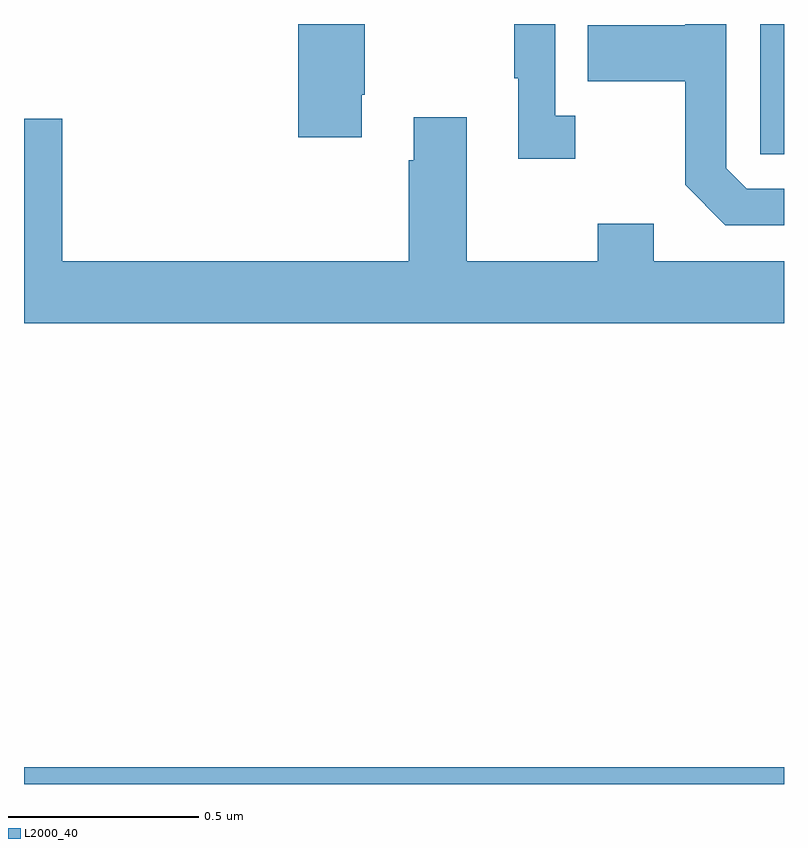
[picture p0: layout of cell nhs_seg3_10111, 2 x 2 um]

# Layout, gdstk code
import gdstk
lib = gdstk.Library(unit=1e-6, precision=1e-09)
def R(c, l, rs):  # rectangles x0, y0, x1, y1
    for r in rs: c.add(gdstk.rectangle(r[:2], r[2:], *l))
def P(c, l, *ps):  # polygons
    for p in ps: c.add(gdstk.Polygon(p, *l))
L2000_40 = (2000, 40)

nhs_seg3_10111 = lib.new_cell('nhs_seg3_10111')
R(nhs_seg3_10111, L2000_40, [(237,670.4,239,670.444), (238.938,672.057,239,672.4)])
P(nhs_seg3_10111, L2000_40, [(237.889,672.214),(237.897,672.214),(237.897,672.4),(237.722,672.4),(237.722,672.102),(237.889,672.102)],
  [(238.45,672.158),(238.398,672.158),(238.398,672.4),(238.29,672.4),(238.29,672.257),(238.301,672.257),(238.301,672.045),(238.45,672.045)],
  [(239,671.967),(238.902,671.967),(238.848,672.021),(238.848,672.4),(238.74,672.4),(238.74,672.397),(238.483,672.397),(238.483,672.25),(238.74,672.25),(238.74,671.977),(238.845,671.871),(239,671.871)],
  [(239,671.776),(238.657,671.776),(238.657,671.875),(238.51,671.875),(238.51,671.776),(238.165,671.776),(238.165,672.154),(238.025,672.154),(238.025,672.041),(238.013,672.041),(238.013,671.776),(237.1,671.776),(237.1,672.151),(237,672.151),(237,671.612),(239,671.612)])

lib.write_gds('nhs_seg3_10111.gds')
